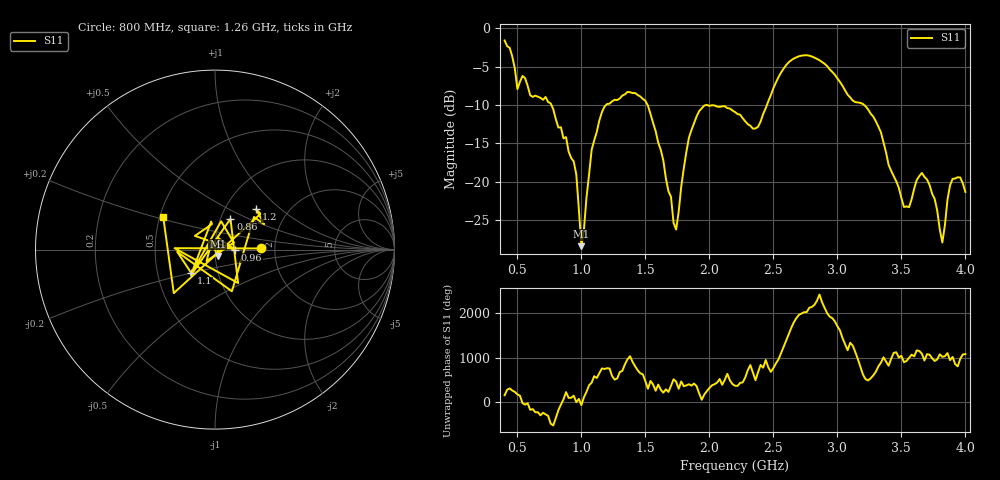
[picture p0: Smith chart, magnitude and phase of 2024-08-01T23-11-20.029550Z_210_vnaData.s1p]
!Created with skrf (http://scikit-rf.org).
# Hz S RI R 50.0
!freq ReS11 ImS11
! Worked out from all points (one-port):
!   181 points, 400 MHz to 4 GHz, reference 50 ohm
!   lowest |S11| = -28.4 dB at 1 GHz (marker M1), VSWR 1.08, Z = 51.4 - j3.61 ohm
!   |S11| at or under -10 dB: 1.517 GHz to 1.978 GHz (460.9 MHz wide, 26.4 % of centre); 1.981 GHz to 2.449 GHz (468 MHz wide, 21.1 % of centre); 3.209 GHz to end of sweep (the widest 3 of 4)
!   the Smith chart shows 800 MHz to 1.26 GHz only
!   S11 on the Smith chart (normalised r, x): 800 MHz: 1.69, +0.02; 860 MHz: 1.11, +0.40; 960 MHz: 1.25, -0.00; 1.1 GHz: 0.74, -0.20; 1.2 GHz: 1.39, +0.70; 1.26 GHz: 0.52, +0.22
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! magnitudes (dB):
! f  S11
! 400 MHz  -1.6
! 500 MHz  -7.9
! 540 MHz  -6.2
! 800 MHz  -11.8
! 860 MHz  -14.3
! 960 MHz  -19.0
! 1 GHz  -28.4
! 1.1 GHz  -14.6
! 1.2 GHz  -9.9
! 1.26 GHz  -9.3
! 1.3 GHz  -9.1
! 1.52 GHz  -10.1
! 1.72 GHz  -25.3
! 1.76 GHz  -23.9
! 1.84 GHz  -14.3
! 1.92 GHz  -10.8
! 2.2 GHz  -10.9
! 2.38 GHz  -12.8
! 2.66 GHz  -3.9
! 2.86 GHz  -4.2
! 3.1 GHz  -9.0
! 3.3 GHz  -12.1
! 3.56 GHz  -23.3
! 3.66 GHz  -18.8
! 3.76 GHz  -22.2
! 3.82 GHz  -27.9
! 3.9 GHz  -19.6
! 4 GHz  -21.3
